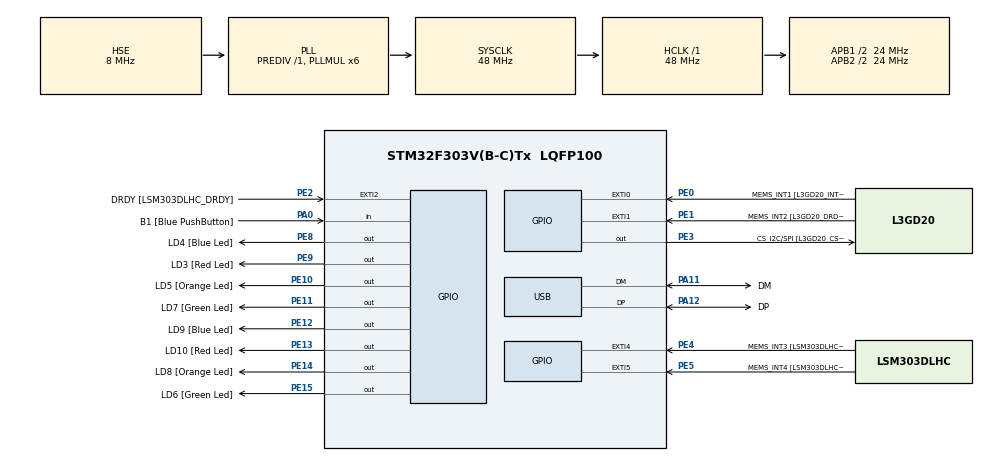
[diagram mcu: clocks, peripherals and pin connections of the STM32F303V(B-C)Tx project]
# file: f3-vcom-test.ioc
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Mcu.Family=STM32F3
Mcu.Name=STM32F303V(B-C)Tx
Mcu.Package=LQFP100
NVIC.PriorityGroup=NVIC_PRIORITYGROUP_0
NVIC.USB_LP_CAN_RX0_IRQn=true\:0\:0\:false\:false\:true\:false\:true
PA0.GPIO_Label=B1 [Blue PushButton]
PA0.GPIO_Mode=GPIO_MODE_INPUT
PA0.GPIO_PuPd=GPIO_NOPULL
PA0.Signal=GPIO_Input
PA11.GPIO_Label=DM
PA11.Mode=Device
PA11.Signal=USB_DM
PA12.GPIO_Label=DP
PA12.Mode=Device
PA12.Signal=USB_DP
PA13.GPIO_Label=SWDIO
PA13.Mode=Serial_Wire
PA13.Signal=SYS_JTMS-SWDIO
PA14.GPIO_Label=SWCLK
PA14.Mode=Serial_Wire
PA14.Signal=SYS_JTCK-SWCLK
PA5.GPIO_Label=SPI1_SCK [L3GD20_SCL/SPC]
PA5.GPIO_Mode=GPIO_MODE_AF_PP
PA5.GPIO_PuPd=GPIO_NOPULL
PA5.GPIO_Speed=GPIO_SPEED_FREQ_LOW
PA5.Signal=SPI1_SCK
PA6.GPIO_Label=SPI1_MISO [L3GD20_SA0/SDO]
PA6.GPIO_Mode=GPIO_MODE_AF_PP
PA6.GPIO_PuPd=GPIO_NOPULL
PA6.GPIO_Speed=GPIO_SPEED_FREQ_LOW
PA6.Signal=SPI1_MISO
PA7.GPIO_Label=SPI1_MISO [L3GD20_SDA/SDI/SDO]
PA7.GPIO_Mode=GPIO_MODE_AF_PP
PA7.GPIO_PuPd=GPIO_NOPULL
PA7.GPIO_Speed=GPIO_SPEED_FREQ_LOW
PA7.Signal=SPI1_MOSI
PB3.GPIO_Label=SWO
PB3.Signal=SYS_JTDO-TRACESWO
PB6.GPIO_FM6=__NULL
PB6.GPIO_Label=I2C1_SCL [LSM303DLHC_SCL]
PB6.GPIO_Mode=GPIO_MODE_AF_OD
PB6.GPIO_PuPd=GPIO_NOPULL
PB6.GPIO_Speed=GPIO_SPEED_FREQ_LOW
PB6.Signal=I2C1_SCL
PB7.GPIO_FM7=__NULL
PB7.GPIO_Label=I2C1_SDA [LSM303DLHC_SDA]
PB7.GPIO_Mode=GPIO_MODE_AF_OD
PB7.GPIO_PuPd=GPIO_NOPULL
PB7.GPIO_Speed=GPIO_SPEED_FREQ_LOW
PB7.Signal=I2C1_SDA
PC14-OSC32_IN.GPIO_Label=OSC32_IN
PC14-OSC32_IN.Signal=RCC_OSC32_IN
PC15-OSC32_OUT.GPIO_Label=OSC32_OUT
PC15-OSC32_OUT.Signal=RCC_OSC32_OUT
PE0.GPIO_Label=MEMS_INT1 [L3GD20_INT1]
PE0.GPIO_ModeDefaultEXTI=GPIO_MODE_EVT_RISING
PE0.GPIO_PuPd=GPIO_NOPULL
PE0.Signal=GPXTI0
PE1.GPIO_Label=MEMS_INT2 [L3GD20_DRDY/INT2]
PE1.GPIO_ModeDefaultEXTI=GPIO_MODE_EVT_RISING
PE1.GPIO_PuPd=GPIO_NOPULL
PE1.Signal=GPXTI1
PE10.GPIO_Label=LD5 [Orange Led]
PE10.GPIO_ModeDefaultOutputPP=GPIO_MODE_OUTPUT_PP
PE10.GPIO_PuPd=GPIO_NOPULL
PE10.GPIO_Speed=GPIO_SPEED_FREQ_LOW
PE10.Signal=GPIO_Output
PE11.GPIO_Label=LD7 [Green Led]
PE11.GPIO_ModeDefaultOutputPP=GPIO_MODE_OUTPUT_PP
PE11.GPIO_PuPd=GPIO_NOPULL
PE11.GPIO_Speed=GPIO_SPEED_FREQ_LOW
PE11.Signal=GPIO_Output
PE12.GPIO_Label=LD9 [Blue Led]
PE12.GPIO_ModeDefaultOutputPP=GPIO_MODE_OUTPUT_PP
PE12.GPIO_PuPd=GPIO_NOPULL
PE12.GPIO_Speed=GPIO_SPEED_FREQ_LOW
PE12.Signal=GPIO_Output
PE13.GPIO_Label=LD10 [Red Led]
PE13.GPIO_ModeDefaultOutputPP=GPIO_MODE_OUTPUT_PP
PE13.GPIO_PuPd=GPIO_NOPULL
PE13.GPIO_Speed=GPIO_SPEED_FREQ_LOW
PE13.Signal=GPIO_Output
PE14.GPIO_Label=LD8 [Orange Led]
PE14.GPIO_ModeDefaultOutputPP=GPIO_MODE_OUTPUT_PP
PE14.GPIO_PuPd=GPIO_NOPULL
PE14.GPIO_Speed=GPIO_SPEED_FREQ_LOW
PE14.Signal=GPIO_Output
PE15.GPIO_Label=LD6 [Green Led]
PE15.GPIO_ModeDefaultOutputPP=GPIO_MODE_OUTPUT_PP
PE15.GPIO_PuPd=GPIO_NOPULL
PE15.GPIO_Speed=GPIO_SPEED_FREQ_LOW
PE15.Signal=GPIO_Output
PE2.GPIO_Label=DRDY [LSM303DLHC_DRDY]
PE2.GPIO_ModeDefaultEXTI=GPIO_MODE_EVT_RISING
PE2.GPIO_PuPd=GPIO_NOPULL
PE2.Signal=GPXTI2
PE3.GPIO_Label=CS_I2C/SPI [L3GD20_CS_I2C/SPI]
PE3.GPIO_ModeDefaultOutputPP=GPIO_MODE_OUTPUT_PP
PE3.GPIO_PuPd=GPIO_NOPULL
PE3.GPIO_Speed=GPIO_SPEED_FREQ_LOW
PE3.Signal=GPIO_Output
PE4.GPIO_Label=MEMS_INT3 [LSM303DLHC_INT1]
PE4.GPIO_ModeDefaultEXTI=GPIO_MODE_EVT_RISING
PE4.GPIO_PuPd=GPIO_NOPULL
PE4.Signal=GPXTI4
PE5.GPIO_Label=MEMS_INT4 [LSM303DLHC_INT2]
PE5.GPIO_ModeDefaultEXTI=GPIO_MODE_EVT_RISING
PE5.GPIO_PuPd=GPIO_NOPULL
PE5.Signal=GPXTI5
PE8.GPIO_Label=LD4 [Blue Led]
PE8.GPIO_ModeDefaultOutputPP=GPIO_MODE_OUTPUT_PP
PE8.GPIO_PuPd=GPIO_NOPULL
PE8.GPIO_Speed=GPIO_SPEED_FREQ_LOW
PE8.Signal=GPIO_Output
PE9.GPIO_Label=LD3 [Red Led]
PE9.GPIO_ModeDefaultOutputPP=GPIO_MODE_OUTPUT_PP
PE9.GPIO_PuPd=GPIO_NOPULL
PE9.GPIO_Speed=GPIO_SPEED_FREQ_LOW
PE9.Signal=GPIO_Output
PF0-OSC_IN.GPIO_Label=OSC_IN
PF0-OSC_IN.Mode=HSE-External-Clock-Source
PF0-OSC_IN.Signal=RCC_OSC_IN
PF1-OSC_OUT.GPIO_Label=OSC_OUT
PF1-OSC_OUT.Signal=RCC_OSC_OUT
ProjectManager.HeapSize=0x200
ProjectManager.StackSize=0x400
ProjectManager.TargetToolchain=SW4STM32
RCC.AHBFreq_Value=48000000
RCC.APB1CLKDivider=RCC_HCLK_DIV2
RCC.APB1Freq_Value=24000000
RCC.APB1TimFreq_Value=48000000
RCC.APB2CLKDivider=RCC_HCLK_DIV2
RCC.APB2Freq_Value=24000000
RCC.APB2TimFreq_Value=48000000
RCC.CortexFreq_Value=48000000
RCC.HCLKFreq_Value=48000000
RCC.HSE_VALUE=8000000
RCC.HSI_VALUE=8000000
RCC.LSE_VALUE=32768
RCC.PLLMUL=RCC_PLL_MUL6
RCC.SYSCLKFreq_VALUE=48000000
RCC.SYSCLKSourceVirtual=RCC_SYSCLKSOURCE_PLLCLK
RCC.USBFreq_Value=48000000
USB_DEVICE.CLASS_NAME_FS=CDC
USB_DEVICE.VirtualMode=Cdc
USB_DEVICE.VirtualModeFS=Cdc_FS
VP_USB_DEVICE_VS_USB_DEVICE_CDC_FS.Mode=CDC_FS
board=STM32F3DISCOVERY

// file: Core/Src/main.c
/* USER CODE BEGIN Header */
/**
  ******************************************************************************
  * @file           : main.c
  * @brief          : Main program body
  ******************************************************************************
  * @attention
  *
  * <h2><center>&copy; Copyright (c) 2019 STMicroelectronics.
  * All rights reserved.</center></h2>
  *
  * This software component is licensed by ST under Ultimate Liberty license
  * SLA0044, the "License"; You may not use this file except in compliance with
  * the License. You may obtain a copy of the License at:
  *                             www.st.com/SLA0044
  *
  ******************************************************************************
  */
/* USER CODE END Header */

#include "main.h"
#include "usb_device.h"

/* USER CODE BEGIN Includes */
#include <usbd_cdc_if.h>
/* USER CODE END Includes */

void SystemClock_Config(void);

static void MX_GPIO_Init(void);

/* USER CODE BEGIN 0 */

//Transmit stdout data via Virtual Com
extern USBD_HandleTypeDef hUsbDeviceFS;
#define BUF_LEN 1000
char inputBuf[BUF_LEN];
int writePtr = 0;
int readPtr = 0;

void recordInputData(char const *data, int len) {
    int l = 0;
    for(; l<len;l++) {
        inputBuf[writePtr]= data[l];
        writePtr = (writePtr + 1) % BUF_LEN;
        if(readPtr == writePtr) {
            readPtr = (readPtr + 1) % BUF_LEN;
        }
    }
}

int __unused _read(__unused int file, char *ptr, int len) {

    if (hUsbDeviceFS.dev_state != USBD_STATE_CONFIGURED || readPtr == writePtr) {
        return -1;
    }
    int l = 0;
    __disable_irq();
    while (writePtr != readPtr && len > l) {
        ptr[l] = inputBuf[readPtr];
        readPtr = (readPtr + 1) % BUF_LEN;
        l++;
    }
    __enable_irq();
    return l;
}

int __unused _write(int __unused file, char *data, int len) {
    if (hUsbDeviceFS.dev_state != USBD_STATE_CONFIGURED) {
        return 0;
    }
    int l = 0;
    while (len > 0) {
        int chunk = len > 32 ? 32 : len;
        len -= chunk;
        while (CDC_Transmit_FS((uint8_t *) data, chunk) == USBD_BUSY) {}
        l += chunk;
        data += chunk;
        len -= chunk;
    }
    return l;
}

/* USER CODE END 0 */

int main(void) {

    /* MCU Configuration--------------------------------------------------------*/

    /* Reset of all peripherals, Initializes the Flash interface and the Systick. */
    HAL_Init();

    /* Configure the system clock */
    SystemClock_Config();

    /* Initialize all configured peripherals */
    MX_GPIO_Init();
    MX_USB_DEVICE_Init();

    /* Infinite loop */
    /* USER CODE BEGIN WHILE */
#pragma clang diagnostic push
#pragma clang diagnostic ignored "-Wmissing-noreturn"
    while (1) {
        /* USER CODE END WHILE */
        /* USER CODE BEGIN 3 */
        char buf[100];
        HAL_GPIO_TogglePin(LD6_GPIO_Port, LD6_Pin);
        HAL_Delay(250);
        char *str = gets(buf);
        if(str!=NULL) {
            printf("Received: %s\n\r", str);
            if (!strcasecmp("RED", str)) {
                HAL_GPIO_TogglePin(LD3_GPIO_Port, LD3_Pin);
                HAL_GPIO_TogglePin(LD10_GPIO_Port, LD10_Pin);
            } else if (!strcasecmp("ORANGE", str)) {
                HAL_GPIO_TogglePin(LD5_GPIO_Port, LD5_Pin);
                HAL_GPIO_TogglePin(LD8_GPIO_Port, LD8_Pin);
            } else if (!strcasecmp("BLUE", str)) {
                HAL_GPIO_TogglePin(LD4_GPIO_Port, LD4_Pin);
                HAL_GPIO_TogglePin(LD9_GPIO_Port, LD9_Pin);
            } else if (!strcasecmp("GREEN", str)) {
                HAL_GPIO_TogglePin(LD7_GPIO_Port, LD7_Pin);
            }
        }
    }
#pragma clang diagnostic pop
    /* USER CODE END 3 */
}

void SystemClock_Config(void) {
    RCC_OscInitTypeDef RCC_OscInitStruct = {0};
    RCC_ClkInitTypeDef RCC_ClkInitStruct = {0};
    RCC_PeriphCLKInitTypeDef PeriphClkInit = {0};

    /** Initializes the CPU, AHB and APB busses clocks
    */
    RCC_OscInitStruct.OscillatorType = RCC_OSCILLATORTYPE_HSE;
    RCC_OscInitStruct.HSEState = RCC_HSE_BYPASS;
    RCC_OscInitStruct.HSEPredivValue = RCC_HSE_PREDIV_DIV1;
    RCC_OscInitStruct.HSIState = RCC_HSI_ON;
    RCC_OscInitStruct.PLL.PLLState = RCC_PLL_ON;
    RCC_OscInitStruct.PLL.PLLSource = RCC_PLLSOURCE_HSE;
    RCC_OscInitStruct.PLL.PLLMUL = RCC_PLL_MUL6;
    if (HAL_RCC_OscConfig(&RCC_OscInitStruct) != HAL_OK) {
        Error_Handler();
    }
    /** Initializes the CPU, AHB and APB busses clocks
    */
    RCC_ClkInitStruct.ClockType = RCC_CLOCKTYPE_HCLK | RCC_CLOCKTYPE_SYSCLK
                                  | RCC_CLOCKTYPE_PCLK1 | RCC_CLOCKTYPE_PCLK2;
    RCC_ClkInitStruct.SYSCLKSource = RCC_SYSCLKSOURCE_PLLCLK;
    RCC_ClkInitStruct.AHBCLKDivider = RCC_SYSCLK_DIV1;
    RCC_ClkInitStruct.APB1CLKDivider = RCC_HCLK_DIV2;
    RCC_ClkInitStruct.APB2CLKDivider = RCC_HCLK_DIV2;

    if (HAL_RCC_ClockConfig(&RCC_ClkInitStruct, FLASH_LATENCY_1) != HAL_OK) {
        Error_Handler();
    }
    PeriphClkInit.PeriphClockSelection = RCC_PERIPHCLK_USB;
    PeriphClkInit.USBClockSelection = RCC_USBCLKSOURCE_PLL;
    if (HAL_RCCEx_PeriphCLKConfig(&PeriphClkInit) != HAL_OK) {
        Error_Handler();
    }
}

static void MX_GPIO_Init(void) {
    GPIO_InitTypeDef GPIO_InitStruct = {0};

    /* GPIO Ports Clock Enable */
    __HAL_RCC_GPIOE_CLK_ENABLE();
    __HAL_RCC_GPIOC_CLK_ENABLE();
    __HAL_RCC_GPIOF_CLK_ENABLE();
    __HAL_RCC_GPIOA_CLK_ENABLE();
    __HAL_RCC_GPIOB_CLK_ENABLE();

    /*Configure GPIO pin Output Level */
    HAL_GPIO_WritePin(GPIOE, CS_I2C_SPI_Pin | LD4_Pin | LD3_Pin | LD5_Pin
                             | LD7_Pin | LD9_Pin | LD10_Pin | LD8_Pin
                             | LD6_Pin, GPIO_PIN_RESET);

    /*Configure GPIO pins : DRDY_Pin MEMS_INT3_Pin MEMS_INT4_Pin MEMS_INT1_Pin
                             MEMS_INT2_Pin */
    GPIO_InitStruct.Pin = DRDY_Pin | MEMS_INT3_Pin | MEMS_INT4_Pin | MEMS_INT1_Pin
                          | MEMS_INT2_Pin;
    GPIO_InitStruct.Mode = GPIO_MODE_EVT_RISING;
    GPIO_InitStruct.Pull = GPIO_NOPULL;
    HAL_GPIO_Init(GPIOE, &GPIO_InitStruct);

    /*Configure GPIO pins : CS_I2C_SPI_Pin LD4_Pin LD3_Pin LD5_Pin
                             LD7_Pin LD9_Pin LD10_Pin LD8_Pin
                             LD6_Pin */
    GPIO_InitStruct.Pin = CS_I2C_SPI_Pin | LD4_Pin | LD3_Pin | LD5_Pin
                          | LD7_Pin | LD9_Pin | LD10_Pin | LD8_Pin
                          | LD6_Pin;
    GPIO_InitStruct.Mode = GPIO_MODE_OUTPUT_PP;
    GPIO_InitStruct.Pull = GPIO_NOPULL;
    GPIO_InitStruct.Speed = GPIO_SPEED_FREQ_LOW;
    HAL_GPIO_Init(GPIOE, &GPIO_InitStruct);

    /*Configure GPIO pin : B1_Pin */
    GPIO_InitStruct.Pin = B1_Pin;
    GPIO_InitStruct.Mode = GPIO_MODE_INPUT;
    GPIO_InitStruct.Pull = GPIO_NOPULL;
    HAL_GPIO_Init(B1_GPIO_Port, &GPIO_InitStruct);

    /*Configure GPIO pins : SPI1_SCK_Pin SPI1_MISO_Pin SPI1_MISOA7_Pin */
    GPIO_InitStruct.Pin = SPI1_SCK_Pin | SPI1_MISO_Pin | SPI1_MISOA7_Pin;
    GPIO_InitStruct.Mode = GPIO_MODE_AF_PP;
    GPIO_InitStruct.Pull = GPIO_NOPULL;
    GPIO_InitStruct.Speed = GPIO_SPEED_FREQ_LOW;
    GPIO_InitStruct.Alternate = GPIO_AF5_SPI1;
    HAL_GPIO_Init(GPIOA, &GPIO_InitStruct);

    /*Configure GPIO pins : I2C1_SCL_Pin I2C1_SDA_Pin */
    GPIO_InitStruct.Pin = I2C1_SCL_Pin | I2C1_SDA_Pin;
    GPIO_InitStruct.Mode = GPIO_MODE_AF_OD;
    GPIO_InitStruct.Pull = GPIO_PULLUP;
    GPIO_InitStruct.Speed = GPIO_SPEED_FREQ_LOW;
    GPIO_InitStruct.Alternate = GPIO_AF4_I2C1;
    HAL_GPIO_Init(GPIOB, &GPIO_InitStruct);

}

void Error_Handler(void) {
}

/************************ (C) COPYRIGHT STMicroelectronics *****END OF FILE****/
